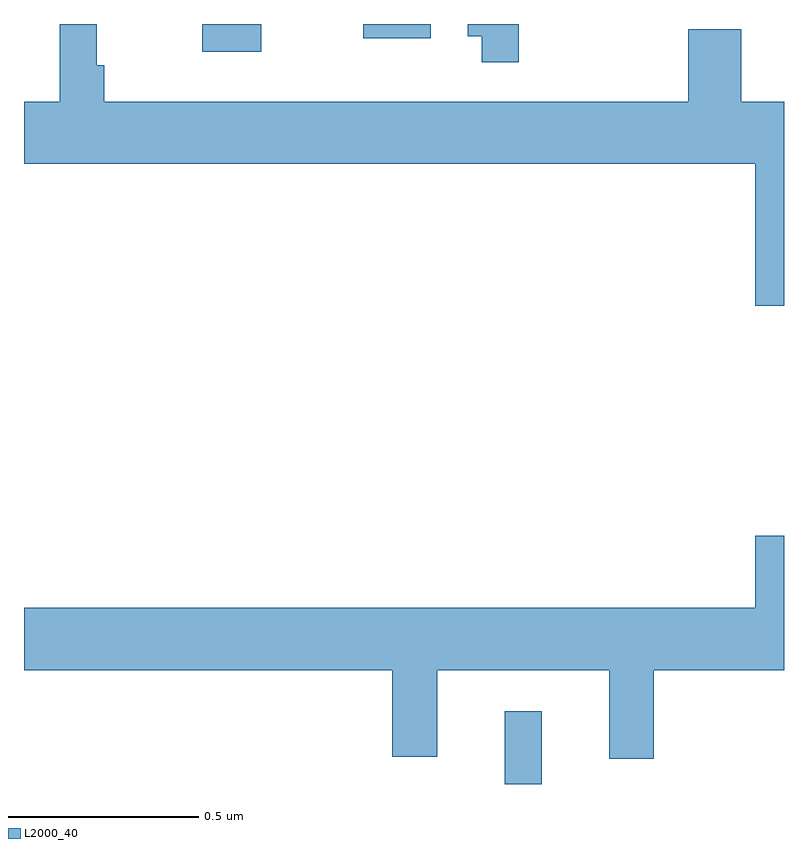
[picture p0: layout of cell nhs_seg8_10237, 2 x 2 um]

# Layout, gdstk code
import gdstk
lib = gdstk.Library(unit=1e-6, precision=1e-09)
def R(c, l, rs):  # rectangles x0, y0, x1, y1
    for r in rs: c.add(gdstk.rectangle(r[:2], r[2:], *l))
def P(c, l, *ps):  # polygons
    for p in ps: c.add(gdstk.Polygon(p, *l))
L2000_40 = (2000, 40)

nhs_seg8_10237 = lib.new_cell('nhs_seg8_10237')
R(nhs_seg8_10237, L2000_40, [(248.265,1082.9,248.362,1083.091), (247.469,1084.827,247.624,1084.9), (247.893,1084.862,248.07,1084.9)])
P(nhs_seg8_10237, L2000_40, [(249,1084.696),(248.887,1084.696),(248.887,1084.886),(248.748,1084.886),(248.748,1084.696),(247.211,1084.696),(247.211,1084.792),(247.191,1084.792),(247.191,1084.9),(247.094,1084.9),(247.094,1084.696),(247,1084.696),(247,1084.532),(248.924,1084.532),(248.924,1084.158),(249,1084.158)],
  [(248.302,1084.9),(248.168,1084.9),(248.168,1084.868),(248.204,1084.868),(248.204,1084.8),(248.302,1084.8)],
  [(248.657,1083.2),(249,1083.2),(249,1083.553),(248.924,1083.553),(248.924,1083.364),(247,1083.364),(247,1083.2),(247.969,1083.2),(247.969,1082.972),(248.087,1082.972),(248.087,1083.2),(248.54,1083.2),(248.54,1082.967),(248.657,1082.967)])

lib.write_gds('nhs_seg8_10237.gds')
